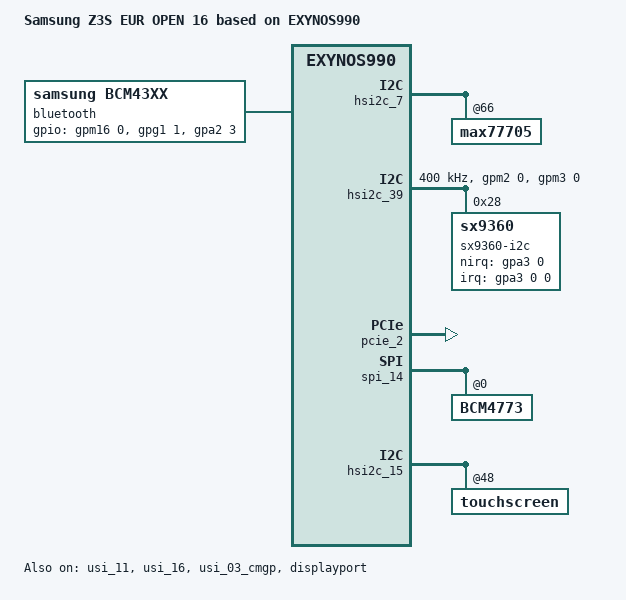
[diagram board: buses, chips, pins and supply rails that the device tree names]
/*
 * SAMSUNG EXYNOS990 board device tree source
 *
 * Copyright (c) 2019 Samsung Electronics Co., Ltd.
 *		http://www.samsung.com
 *
 * This program is free software; you can redistribute it and/or modify
 * it under the terms of the GNU General Public License version 2 as
 * published by the Free Software Foundation.
*/

/dts-v1/;
/plugin/;
#include "exynos9830-z3s_pm_16.dtsi"
#include "exynos990-z3s_common.dtsi"
#include "exynos9830-z3s_camera_csi_16.dtsi"
#include "exynos_gpio_config_macros.dtsi"
#include "exynos9830-picasso_nfc_17.dtsi"
#include "../exynos/exynos9830-universal9830-cp-s5123-sipc.dtsi"
#include <dt-bindings/gpio/gpio.h>
#include "exynos9830-sensorhub_03.dtsi"
#include "exynos9830-hubblez3_fingerprint_00.dtsi"
#include "battery_data_hubblez3_00.dtsi"

#define BOARD_ID	0x10
#define BOARD_REV	0x0

/ {
	compatible = "samsung,Z3S EUR OPEN 16", "samsung,EXYNOS990";
	dtbo-hw_rev = <16>;
	dtbo-hw_rev_end = <16>;
	edtbo-rev = <0>;

	fragment@model {
		target-path = "/";
		__overlay__ {
			#address-cells = <2>;
			#size-cells = <1>;

			model = "Samsung Z3S EUR OPEN 16 based on EXYNOS990";

			acpm_ipc {
				compatible = "samsung,exynos-acpm-ipc";
				board-id = <BOARD_ID>;
				board-rev = <BOARD_REV>;
			};

			pinctrl@15850000 {
				bt_hostwake: bt-hostwake {
					samsung,pins = "gpa2-3";
					samsung,pin-function = <0xF>;
					samsung,pin-pud = <1>;
				};
			};

			pinctrl@10730000 {
				bt_btwake: bt-btwake {
					samsung,pins = "gpg1-1";
					samsung,pin-function = <1>;
					samsung,pin-pud = <0>;
					samsung,pin-con-pdn = <3>;
					samsung,pin-pud-pdn = <0>;
				};
			};

			pinctrl@15C30000 {
				bt_en: bt-en {
					samsung,pins = "gpm16-0";
					samsung,pin-function = <1>;
					samsung,pin-pud = <0>;
					samsung,pin-con-pdn = <3>;
					samsung,pin-pud-pdn = <0>;
				};
			};

			bluetooth {
				compatible = "samsung,bcm43xx";
				gpios = <&gpm16 0 GPIO_ACTIVE_HIGH    /*BT_EN*/
				&gpg1 1 GPIO_ACTIVE_HIGH    /*BT_WAKE*/
				&gpa2 3 GPIO_ACTIVE_HIGH    /*BT_HOST_WAKE*/ >;
				pinctrl-names = "default";
				pinctrl-0=<&bt_en &bt_hostwake &bt_btwake>;
				status = "okay";
			};
		}; /* end of __overlay__ */
	}; /* end of fragment */

	fragment@camera {
		target-path = "/";
		__overlay__ {
			/* REAR CAMERA */
			is_sensor_hm1: is_sensor_hm1@20 {
				power_seq {
					scenario_normal_on {
						20 { pname = "VDDIO_1.8V_CAM"; pin = <PIN_REGULATOR 1 30000>; share = <SRT_ACQUIRE SHARED_PIN2 1>; };
					};
				};
			};

			/* FRONT CAMERA */
			is_sensor_gh1: is_sensor_gh1@10 {
				power_seq {
					scenario_normal_on {
						30 { pname = "VDDIO_1.8V_VT"; pin = <PIN_REGULATOR 1 11000>; };
					};
				};
			};
		}; /* end of __overlay__ */
	}; /* end of fragment */
}; /* end of root */

&panel_0 {
	/* reset, power */
	gpios = <&gpa3 4 0x1>;
};

&chosen {
	bootargs_ext = "root=/dev/ram0 androidboot.boot_devices=13100000.ufs";
};

&usi_11 {
	usi_v2_mode = "i2c";
	status = "okay";
};

&usi_16 {
	usi_v2_mode = "spi";
	status = "okay";
};

&usi_03_cmgp {
	usi_v2_mode = "i2c";
	status = "okay";
};

&hsi2c_7 {
	max77705@66 {
		max77705,extra_fw_enable = <1>;
	};
};

&pinctrl_1 {
	hsi2c44_bus: hsi2c44-bus {
		samsung,pins = "gpm12-0", "gpm13-0";
		samsung,pin-function = <2>;
		samsung,pin-pud = <0>;
		samsung,pin-drv = <0>;
	};
};

&pinctrl_5 {
	aux_oe: aux-oe {
		samsung,pins = "gpp6-2";
		samsung,pin-function = <1>;
		samsung,pin-pud = <0>;
		samsung,pin-con-pdn = <3>;
		samsung,pin-pud-pdn = <0>;
		};

	sbu_sel: sbu-sel {
		samsung,pins = "gpp6-1";
		samsung,pin-function = <1>;
		samsung,pin-pud = <0>;
		samsung,pin-con-pdn = <3>;
		samsung,pin-pud-pdn = <0>;
		};
};

&hsi2c_39 { /* 15D10000 */
	#address-cells = <1>;
	#size-cells = <0>;
	gpios = <&gpm2 0 0 &gpm3 0 0>;
	status = "okay";
	clock-frequency = <400000>;

	pinctrl-names = "default";
	pinctrl-0 = <&grip_i2c>;

	sx9360-i2c@28 {
		compatible = "sx9360";
		reg = <0x28>;
		status = "okay";
		pinctrl-names = "default";
		pinctrl-0 = <&grip_irq>;
		interrupt-parent = <&gpa3>;
		interrupts = <0 0 0>;

		sx9360,nirq-gpio = <&gpa3 0 0>;
		sx9360,refresolution_reg = <0x0f>; /* same as resolution_reg */
		sx9360,refagainfreq_reg = <0x36>; /* same as againfreq_reg */
		sx9360,resolution_reg = <0x0f>; /* resolution : 1024 */
		sx9360,againfreq_reg = <0x36>; /* freq : 83.33 kHz, again : +/-5.25 pF */
		sx9360,refgainrawfilt_reg = <0x22>; /* same as gainrawfilt_reg */
		sx9360,gainrawfilt_reg = <0x22>; /* rawfilter : 1-1/4, gain : x8 */
		sx9360,hyst_reg = <0x15>; /* hysteresis : +/-6 %, debouncer : 2 samples */
		sx9360,proxthresh_reg = <0x3C>; /* threshhold : 1800 */
		sx9360,hallic_cert_detect = <1>;
	};
};

&displayport {
	status = "okay";
	dp,aux_sw_oe = <&gpp6 2 0>;
	dp,sbu_sw_sel = <&gpp6 1 0>;
	dp,usb_con_sel = <&gpm26 0 0>;

	pinctrl-names = "default";
	pinctrl-0 = <&aux_oe &sbu_sel>;
};

&pcie_2 {
	status = "okay";
	chip-ver = <1>;
	use-sysmmu = "false";
	use-cache-coherency = "true";
	use-msi = "true";
	use-pcieon-sleep = "true";
	phy-power-off = "false";
	ep-device-type = <EP_SAMSUNG_MODEM>;
	ep-device-name = "MODEM";
};

&ufs {
	/* board type for UFS CAL */
	evt-ver = /bits/ 8 <1>;
};

&spi_14 {
	BCM4773@0 {
		ssp-acc-position = <5>;
		ssp-mag-position = <1>;
		ssp-mag-array = /bits/ 8 <237 83 137 137 10 183 0 182 210 53 240 65 93 15 1 254 0 200 137 115
					190 253 245 202 10 215 241>;
		ssp-thermi-up = /bits/ 16 <3244 3216 3177 3127 3063 2987 2893 2785 2663 2522 2364 2191 2019 1841 1664 1492 1325 1165 1024 894 772 658 579>;
		ssp-thermi-sub = /bits/ 16 <4095 4095 4095 4026 3810 3566 3300 3013 2725 2438 2142 1871 1626 1402 1202 1030 874 744 631 535 453 385 331>;
	};
};

&pinctrl_1 {
	tsp_id: tsp-id {
		samsung,pins = "gpm21-0";
		samsung,pin-function = <0>;
		samsung,pin-pud = <0>;
		samsung,pin-drv = <0>;
	};
};

&hsi2c_15 {
	touchscreen@48 {
		pinctrl-0 = <&attn_irq &tsp_id>;
		pinctrl-1 = <&attn_input &tsp_id>;
	};
};

/* ----------------------------------------------------------------------------
 * Configurations for GPIOs without Device Driver
 * Note: Do NOT add pins using by device drivers to the configuration below
 * ----------------------------------------------------------------------------
 */
/*
 * pin banks of exynos9830 pin-controller 0 (ALIVE) : pinctrl@15850000
 * GPA0, GPA1, GPA2, GPA3, GPA4
 * GPQ0
 */
&pinctrl_0 {
	pinctrl-names = "default";
	pinctrl-0 = <&initial0>;
	initial0: initial-state {
		PIN_IN(gpq0-6, DOWN);			/* XSPEEDY_DCXO */
	};
};

/*
 * pin banks of exynos9830 pin-controller 4 (PERIC0) : pinctrl@10430000
 * GPP0, GPP1, GPP2, GPP3, GPP4
 * GPG0
 */
&pinctrl_4 {
	pinctrl-names = "default";
	pinctrl-0 = <&initial4>;
	initial4: initial-state {
		PIN_IN_SLP(gpp2-4, NONE, INPUT, NONE);	/* SUB_VER_1 */
		PIN_IN_SLP(gpp2-5, NONE, INPUT, NONE);	/* SUB_VER_2 */
	};
};

/*
 * pin banks of exynos9830 pin-controller 5 (PERIC1) : pinctrl@10730000
 * GPP5, GPP6, GPP7, GPP8, GPP9
 * GPC0
 * GPG1
 * GPB0, GPB1, GPB2
 */
&pinctrl_5 {
	pinctrl-names = "default";
	pinctrl-0 = <&initial5>;
	initial5: initial-state {
		PIN_IN_SLP(gpp5-0, NONE, INPUT, NONE);	/* MEM_SCL_1P8 */
		PIN_IN_SLP(gpp5-1, NONE, INPUT, NONE);	/* MEM_SDA_1P8 */
		PIN_IN_SLP(gpp5-5, NONE, INPUT, NONE);	/* HW_REV_M */
		PIN_IN_SLP(gpb0-0, NONE, INPUT, NONE);	/* INTERPOSER_DET_R_2 */
		PIN_IN_SLP(gpb0-1, NONE, INPUT, NONE);	/* INTERPOSER_DET_R_1 */
		PIN_IN_SLP(gpb0-2, NONE, INPUT, NONE);	/* INTERPOSER_DET_L_1 */
		PIN_IN_SLP(gpb0-3, NONE, INPUT, NONE);	/* INTERPOSER_DET_L_2 */
	};
};
